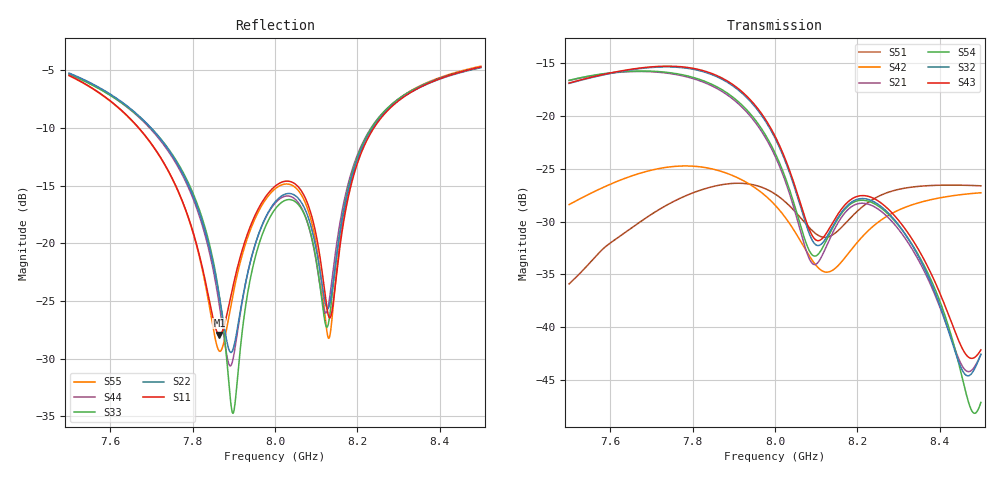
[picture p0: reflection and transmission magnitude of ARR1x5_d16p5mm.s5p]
! Touchstone file exported from HFSS 2025.1.0
!  File:  C:/Users/user/Documents/Ansoft/TFG_UWB-MIMO-Array.aedt
!  Generated:  08:09:00 PM Nov 16, 2026
!  Design:  ARR1x5_US3_PS4_2_1_dparam
!  Project:  TFG_UWB-MIMO-Array
!  Setup:  Setup_ch9
!  Solution:  Sweep_7p5_8p5
! Variables:
!  arr_d = 16.5mm
!  board_m = 13mm
!  board_x = 92mm
!  board_y = 26mm
!  cu_t = 0.035mm
!  line_w = 3.92mm
!  pad_xy = 22mm
!  pad_zn = 25mm
!  pad_zp = 33mm
!  par_L = 7.46mm
!  par_W = 10mm
!  par_yc = 0.75mm
!  par_z = 1.035mm
!  patch_L = 6.222mm
!  patch_W = 11.421266mm
!  sub_h = 2.07mm
!  tr_l = 6.6mm
!  tr_w = 0.8mm
!  u_Lu = 2.65mm
!  u_Wu = 4.4mm
!  u_t = 0.8mm
!  u_y0 = -0.7mm
# GHz S MA R 50.000000
! Terminal data exported
! Port[1] = P1
! Port[2] = P2
! Port[3] = P3
! Port[4] = P4
! Port[5] = P5
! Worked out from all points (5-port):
!   1001 points, 7.5 GHz to 8.5 GHz, reference 50 ohm
!   strongest paths, dB at 7.5 GHz, 7.75 GHz, 8 GHz, 8.25 GHz, 8.5 GHz:
!     S43: -16.9, -15.3, -21.9, -28.0, -42.1
!     S32: -16.9, -15.4, -22.1, -28.4, -42.5
!     S54: -16.7, -16.0, -23.5, -28.5, -47.1
!     S21: -16.7, -16.1, -23.8, -28.8, -42.6
!     S42: -28.4, -24.8, -28.4, -30.1, -27.3
!     S51: -35.9, -28.2, -27.4, -27.6, -26.6
!   lowest |S11| = -28.0 dB at 7.865 GHz (marker M1), VSWR 1.08, Z = 46.7 + j1.96 ohm
!   |S11| at or under -10 dB: 7.669 GHz to 8.24 GHz (570.7 MHz wide, 7.17 % of centre)
